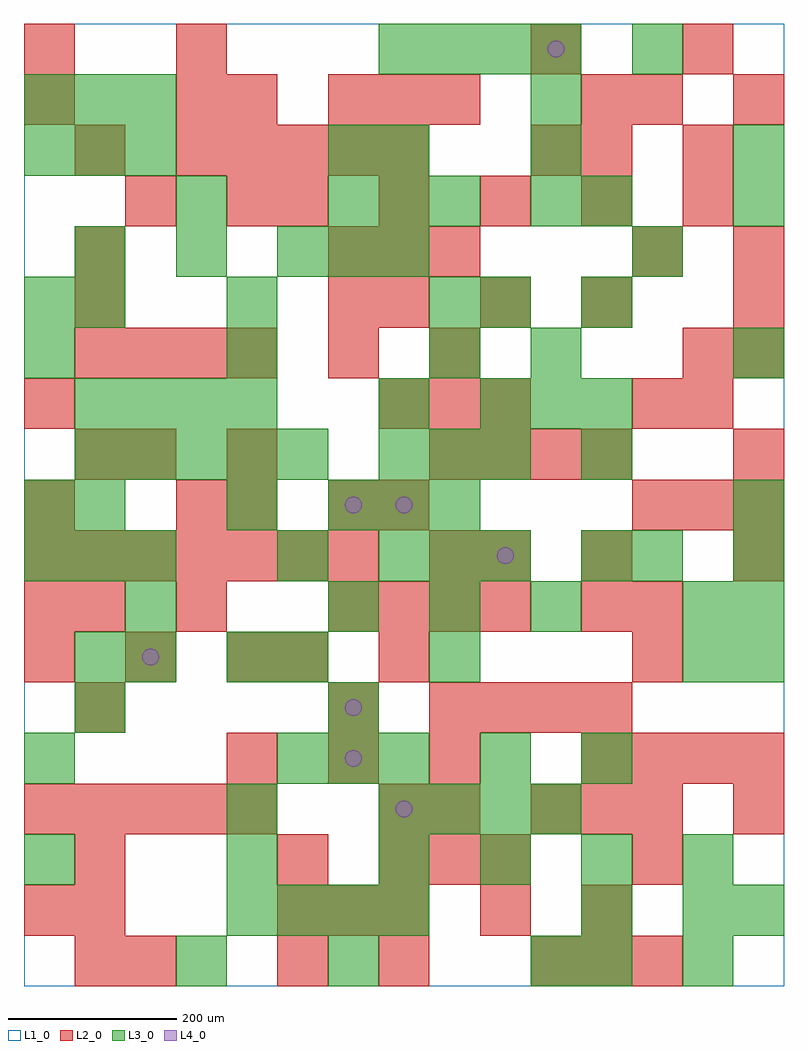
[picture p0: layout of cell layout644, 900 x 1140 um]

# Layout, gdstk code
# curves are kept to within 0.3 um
import gdstk
lib = gdstk.Library(unit=1e-6, precision=1e-09)
def R(c, l, rs):  # rectangles x0, y0, x1, y1
    for r in rs: c.add(gdstk.rectangle(r[:2], r[2:], *l))
def A(c, l, x, y, w, h, nx, ny, dx, dy):  # array of equal rectangles
    R(c, l, [(x+i*dx, y+j*dy, x+i*dx+w, y+j*dy+h) for i in range(nx) for j in range(ny)])
def P(c, l, *ps):  # polygons
    for p in ps: c.add(gdstk.Polygon(p, *l))
L1_0 = (1, 0)
L2_0 = (2, 0)
L3_0 = (3, 0)
L4_0 = (4, 0)

layout644 = lib.new_cell('layout644')
R(layout644, L1_0, [(0,0,900,1140)])
A(layout644, L2_0, 60, 0, 60, 60, 1, 3, 0, 60)
A(layout644, L2_0, 420, 0, 60, 60, 1, 4, 0, 180)
A(layout644, L2_0, 600, 0, 60, 60, 3, 2, 60, 180)
A(layout644, L2_0, 300, 60, 60, 60, 3, 1, 60, 0)
A(layout644, L2_0, 420, 120, 60, 60, 3, 2, 60, 540)
A(layout644, L2_0, 0, 180, 60, 60, 5, 1, 60, 0)
A(layout644, L2_0, 240, 240, 60, 60, 3, 1, 120, 0)
A(layout644, L2_0, 660, 240, 60, 60, 4, 1, 60, 0)
A(layout644, L2_0, 480, 300, 60, 60, 4, 2, 60, 300)
A(layout644, L2_0, 0, 360, 60, 60, 3, 1, 120, 0)
A(layout644, L2_0, 0, 420, 60, 60, 1, 3, 0, 120)
A(layout644, L2_0, 60, 420, 60, 60, 1, 3, 0, 180)
A(layout644, L2_0, 360, 420, 60, 60, 4, 1, 60, 0)
A(layout644, L2_0, 0, 480, 60, 60, 7, 1, 60, 0)
A(layout644, L2_0, 840, 480, 60, 60, 1, 3, 0, 120)
A(layout644, L2_0, 720, 540, 60, 60, 3, 1, 60, 0)
A(layout644, L2_0, 720, 660, 60, 60, 1, 3, 0, 180)
A(layout644, L2_0, 60, 720, 60, 60, 4, 1, 60, 0)
A(layout644, L2_0, 420, 780, 60, 60, 3, 1, 120, 0)
A(layout644, L2_0, 360, 840, 60, 60, 3, 2, 60, 180)
A(layout644, L2_0, 300, 900, 60, 60, 5, 1, 120, 0)
A(layout644, L2_0, 180, 960, 60, 60, 5, 1, 60, 0)
R(layout644, L2_0, [(120,0,180,60), (300,0,360,60), (0,60,60,120), (540,60,600,120), (660,60,720,120), (300,120,360,180), (720,120,780,180), (480,180,540,240), (840,180,900,240), (60,300,120,360), (360,300,420,360), (300,360,360,420), (720,360,780,420), (180,420,240,480), (660,420,720,480), (720,420,780,480), (480,480,540,540), (540,480,600,540), (660,480,720,540), (180,540,240,600), (240,540,300,600), (360,540,420,600), (120,600,180,660), (240,600,300,660), (780,660,840,720), (360,720,420,780), (480,720,540,780), (780,720,840,780), (360,780,420,840), (840,780,900,840), (60,840,120,900), (840,840,900,900), (120,900,180,960), (240,900,300,960), (60,960,120,1020), (600,960,660,1020), (660,960,720,1020), (780,960,840,1020), (0,1020,60,1080), (180,1020,240,1080), (240,1020,300,1080), (660,1020,720,1080), (840,1020,900,1080), (0,1080,60,1140), (180,1080,240,1140), (600,1080,660,1140), (780,1080,840,1140)])
A(layout644, L3_0, 240, 60, 60, 60, 4, 1, 60, 0)
A(layout644, L3_0, 420, 120, 60, 60, 4, 1, 120, 0)
A(layout644, L3_0, 240, 180, 60, 60, 1, 3, 0, 180)
A(layout644, L3_0, 420, 180, 60, 60, 4, 2, 60, 900)
A(layout644, L3_0, 300, 240, 60, 60, 3, 1, 60, 0)
A(layout644, L3_0, 840, 360, 60, 60, 1, 4, 0, 60)
A(layout644, L3_0, 360, 420, 60, 60, 3, 1, 120, 0)
A(layout644, L3_0, 0, 480, 60, 60, 3, 2, 60, 480)
A(layout644, L3_0, 420, 480, 60, 60, 3, 2, 60, 120)
A(layout644, L3_0, 360, 540, 60, 60, 3, 2, 60, 360)
A(layout644, L3_0, 60, 600, 60, 60, 5, 1, 60, 0)
A(layout644, L3_0, 60, 660, 60, 60, 4, 1, 60, 0)
A(layout644, L3_0, 540, 660, 60, 60, 3, 1, 60, 0)
A(layout644, L3_0, 0, 720, 60, 60, 3, 1, 240, 0)
A(layout644, L3_0, 60, 840, 60, 60, 3, 1, 120, 0)
A(layout644, L3_0, 600, 900, 60, 60, 1, 3, 0, 60)
A(layout644, L3_0, 0, 1020, 60, 60, 3, 1, 60, 0)
R(layout644, L3_0, [(180,0,240,60), (360,0,420,60), (600,0,660,60), (660,0,720,60), (780,0,840,60), (660,60,720,120), (780,60,840,120), (840,60,900,120), (0,120,60,180), (240,120,300,180), (0,240,60,300), (540,240,600,300), (660,240,720,300), (60,300,120,360), (360,300,420,360), (60,360,120,420), (120,360,180,420), (300,360,360,420), (480,360,540,420), (780,360,840,420), (120,420,180,480), (780,420,840,480), (300,480,360,540), (660,480,720,540), (720,480,780,540), (0,540,60,600), (60,540,120,600), (660,600,720,660), (420,660,480,720), (600,720,660,780), (840,720,900,780), (0,780,60,840), (60,780,120,840), (240,780,300,840), (480,780,540,840), (540,780,600,840), (660,780,720,840), (360,840,420,900), (420,840,480,900), (720,840,780,900), (180,900,240,960), (660,900,720,960), (840,900,900,960), (360,960,420,1020), (420,960,480,1020), (840,960,900,1020), (720,1080,780,1140)])
P(layout644, L4_0, [(160,390),(159.239,393.827),(157.071,397.071),(153.827,399.239),(150,400),(146.173,399.239),(142.929,397.071),(140.761,393.827),(140,390),(140.761,386.173),(142.929,382.929),(146.173,380.761),(150,380),(153.827,380.761),(157.071,382.929),(159.239,386.173)],
  [(400,270),(399.239,273.827),(397.071,277.071),(393.827,279.239),(390,280),(386.173,279.239),(382.929,277.071),(380.761,273.827),(380,270),(380.761,266.173),(382.929,262.929),(386.173,260.761),(390,260),(393.827,260.761),(397.071,262.929),(399.239,266.173)],
  [(400,330),(399.239,333.827),(397.071,337.071),(393.827,339.239),(390,340),(386.173,339.239),(382.929,337.071),(380.761,333.827),(380,330),(380.761,326.173),(382.929,322.929),(386.173,320.761),(390,320),(393.827,320.761),(397.071,322.929),(399.239,326.173)],
  [(400,570),(399.239,573.827),(397.071,577.071),(393.827,579.239),(390,580),(386.173,579.239),(382.929,577.071),(380.761,573.827),(380,570),(380.761,566.173),(382.929,562.929),(386.173,560.761),(390,560),(393.827,560.761),(397.071,562.929),(399.239,566.173)],
  [(460,210),(459.239,213.827),(457.071,217.071),(453.827,219.239),(450,220),(446.173,219.239),(442.929,217.071),(440.761,213.827),(440,210),(440.761,206.173),(442.929,202.929),(446.173,200.761),(450,200),(453.827,200.761),(457.071,202.929),(459.239,206.173)],
  [(460,570),(459.239,573.827),(457.071,577.071),(453.827,579.239),(450,580),(446.173,579.239),(442.929,577.071),(440.761,573.827),(440,570),(440.761,566.173),(442.929,562.929),(446.173,560.761),(450,560),(453.827,560.761),(457.071,562.929),(459.239,566.173)],
  [(580,510),(579.239,513.827),(577.071,517.071),(573.827,519.239),(570,520),(566.173,519.239),(562.929,517.071),(560.761,513.827),(560,510),(560.761,506.173),(562.929,502.929),(566.173,500.761),(570,500),(573.827,500.761),(577.071,502.929),(579.239,506.173)],
  [(640,1110),(639.239,1113.827),(637.071,1117.071),(633.827,1119.239),(630,1120),(626.173,1119.239),(622.929,1117.071),(620.761,1113.827),(620,1110),(620.761,1106.173),(622.929,1102.929),(626.173,1100.761),(630,1100),(633.827,1100.761),(637.071,1102.929),(639.239,1106.173)])

lib.write_gds('layout644.gds')
